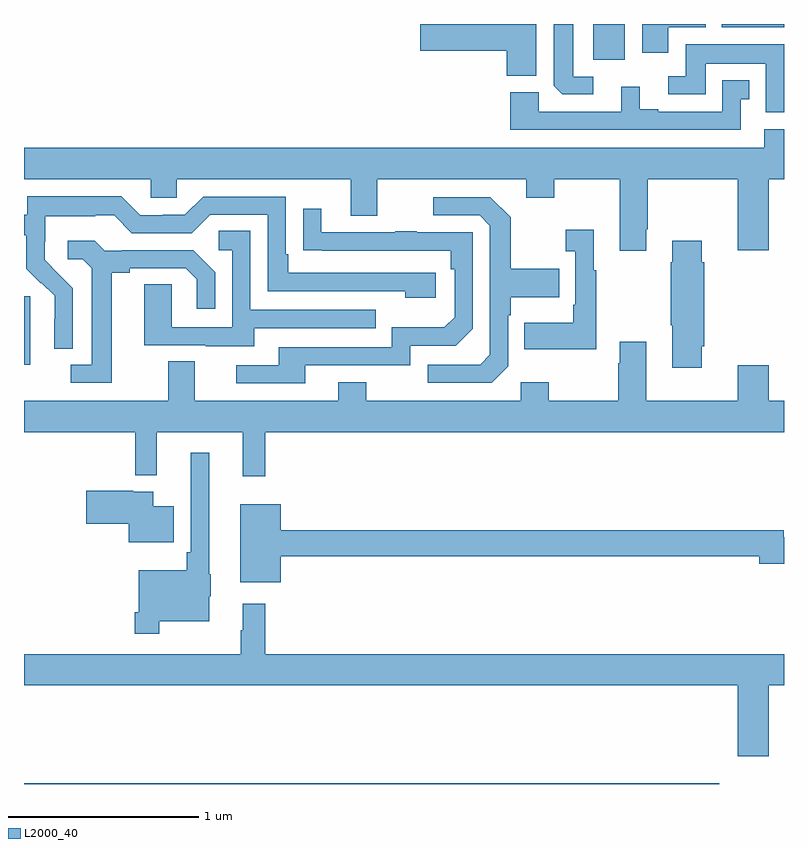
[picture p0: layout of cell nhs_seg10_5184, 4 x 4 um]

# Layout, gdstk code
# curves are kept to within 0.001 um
import gdstk
lib = gdstk.Library(unit=1e-6, precision=1e-09)
def R(c, l, rs):  # rectangles x0, y0, x1, y1
    for r in rs: c.add(gdstk.rectangle(r[:2], r[2:], *l))
def P(c, l, *ps):  # polygons
    for p in ps: c.add(gdstk.Polygon(p, *l))
L2000_40 = (2000, 40)

nhs_seg10_5184 = lib.new_cell('nhs_seg10_5184')
R(nhs_seg10_5184, L2000_40, [(413,1262.5,416.66,1262.504), (413,1264.706,413.032,1265.067), (415.997,1266.312,416.161,1266.5), (416.672,1266.482,417,1266.5)])
P(nhs_seg10_5184, L2000_40, [(416.392,1266.482),(416.587,1266.482),(416.587,1266.5),(416.255,1266.5),(416.255,1266.348),(416.392,1266.348)],
  [(415.996,1266.222),(415.891,1266.222),(415.891,1266.5),(415.787,1266.5),(415.787,1266.286),(415.788,1266.286),(415.788,1266.175),(415.834,1266.129),(415.996,1266.129)],
  [(415.696,1266.5),(415.086,1266.5),(415.086,1266.359),(415.541,1266.359),(415.541,1266.227),(415.696,1266.227)],
  [(417,1266.394),(416.483,1266.394),(416.483,1266.225),(416.391,1266.225),(416.391,1266.129),(416.587,1266.129),(416.587,1266.29),(416.903,1266.29),(416.903,1266.035),(417,1266.035)],
  [(416.772,1266.105),(416.818,1266.105),(416.818,1266.205),(416.676,1266.205),(416.676,1266.039),(416.338,1266.039),(416.338,1266.052),(416.242,1266.052),(416.242,1266.169),(416.144,1266.169),(416.144,1266.039),(415.71,1266.039),(415.71,1266.142),(415.559,1266.142),(415.559,1265.943),(416.772,1265.943)],
  [(413,1265.684),(413.667,1265.684),(413.667,1265.586),(413.805,1265.586),(413.805,1265.684),(414.719,1265.684),(414.719,1265.49),(414.859,1265.49),(414.859,1265.684),(415.643,1265.684),(415.643,1265.585),(415.791,1265.585),(415.791,1265.684),(416.135,1265.684),(416.135,1265.307),(416.275,1265.307),(416.275,1265.419),(416.283,1265.419),(416.283,1265.684),(416.756,1265.684),(416.756,1265.31),(416.92,1265.31),(416.92,1265.684),(417,1265.684),(417,1265.947),(416.897,1265.947),(416.897,1265.848),(413,1265.848)],
  [(413.256,1265.11),(413.11,1265.258),(413.11,1265.355),(413.112,1265.355),(413.112,1265.489),(413.375,1265.489),(413.375,1265.493),(413.475,1265.493),(413.568,1265.4),(413.883,1265.4),(413.979,1265.496),(414.282,1265.496),(414.282,1265.094),(415.007,1265.094),(415.007,1265.06),(415.168,1265.06),(415.168,1265.19),(414.391,1265.19),(414.391,1265.287),(414.378,1265.287),(414.378,1265.592),(413.943,1265.592),(413.847,1265.496),(413.729,1265.496),(413.729,1265.493),(413.613,1265.493),(413.513,1265.593),(413.016,1265.593),(413.016,1265.496),(413,1265.496),(413,1265.388),(413.011,1265.388),(413.011,1265.213),(413.088,1265.136),(413.091,1265.139),(413.162,1265.069),(413.162,1264.946),(413.16,1264.946),(413.16,1264.792),(413.256,1264.792)],
  [(415.548,1264.698),(415.548,1264.967),(415.561,1264.967),(415.561,1265.063),(415.817,1265.063),(415.817,1265.211),(415.561,1265.211),(415.561,1265.483),(415.455,1265.589),(415.155,1265.589),(415.155,1265.493),(415.398,1265.493),(415.452,1265.439),(415.452,1264.758),(415.401,1264.707),(415.125,1264.707),(415.125,1264.611),(415.461,1264.611)],
  [(414.481,1264.704),(415.032,1264.704),(415.032,1264.806),(415.272,1264.806),(415.362,1264.896),(415.362,1265.403),(415.067,1265.403),(415.067,1265.408),(414.955,1265.408),(414.955,1265.403),(414.565,1265.403),(414.565,1265.527),(414.469,1265.527),(414.469,1265.308),(415.246,1265.307),(415.246,1265.21),(415.266,1265.21),(415.266,1264.956),(415.213,1264.903),(414.936,1264.903),(414.936,1264.8),(414.341,1264.8),(414.341,1264.704),(414.117,1264.704),(414.117,1264.608),(414.481,1264.608)],
  [(416.011,1265.203),(415.999,1265.203),(415.999,1265.416),(415.851,1265.416),(415.851,1265.303),(415.902,1265.303),(415.902,1265.023),(415.89,1265.023),(415.89,1264.927),(415.633,1264.927),(415.633,1264.787),(416.011,1264.787)],
  [(414.211,1264.899),(414.851,1264.899),(414.851,1264.995),(414.192,1264.995),(414.192,1265.411),(414.024,1265.411),(414.024,1265.31),(414.096,1265.31),(414.096,1264.905),(413.778,1264.905),(413.778,1265.129),(413.633,1265.129),(413.633,1264.809),(413.957,1264.809),(413.957,1264.805),(414.211,1264.805)],
  [(416.566,1264.804),(416.579,1264.804),(416.579,1265.246),(416.566,1265.246),(416.566,1265.359),(416.411,1265.359),(416.411,1265.246),(416.404,1265.246),(416.404,1264.915),(416.411,1264.915),(416.411,1264.692),(416.566,1264.692)],
  [(413.461,1265.192),(413.557,1265.192),(413.557,1265.214),(413.852,1265.214),(413.909,1265.157),(413.909,1265.001),(414.006,1265.001),(414.006,1265.194),(413.89,1265.31),(413.518,1265.31),(413.518,1265.307),(413.424,1265.307),(413.372,1265.359),(413.229,1265.359),(413.229,1265.262),(413.31,1265.262),(413.357,1265.215),(413.357,1264.707),(413.247,1264.707),(413.247,1264.611),(413.461,1264.611)],
  [(414.269,1264.352),(417,1264.352),(417,1264.516),(416.92,1264.516),(416.92,1264.705),(416.756,1264.705),(416.756,1264.516),(416.275,1264.516),(416.275,1264.828),(416.135,1264.828),(416.135,1264.715),(416.128,1264.715),(416.128,1264.516),(415.761,1264.516),(415.761,1264.615),(415.614,1264.615),(415.614,1264.516),(414.801,1264.516),(414.801,1264.615),(414.653,1264.615),(414.653,1264.516),(413.899,1264.516),(413.899,1264.724),(413.759,1264.724),(413.759,1264.516),(413,1264.516),(413,1264.352),(413.586,1264.352),(413.586,1264.124),(413.699,1264.124),(413.699,1264.352),(414.152,1264.352),(414.152,1264.119),(414.269,1264.119)],
  [(413.713,1263.356),(413.974,1263.356),(413.974,1263.489),(413.983,1263.489),(413.983,1263.603),(413.974,1263.603),(413.974,1264.243),(413.877,1264.243),(413.877,1263.721),(413.857,1263.721),(413.857,1263.625),(413.604,1263.625),(413.604,1263.403),(413.584,1263.403),(413.584,1263.291),(413.713,1263.291)],
  [(413.788,1263.961),(413.68,1263.961),(413.68,1264.039),(413.576,1264.039),(413.576,1264.044),(413.328,1264.044),(413.328,1263.869),(413.552,1263.869),(413.552,1263.773),(413.788,1263.773)],
  [(414.352,1263.7),(416.87,1263.7),(416.87,1263.658),(417,1263.658),(417,1263.8),(416.998,1263.8),(416.998,1263.836),(414.352,1263.836),(414.352,1263.973),(414.137,1263.973),(414.137,1263.563),(414.352,1263.563)],
  [(416.92,1263.02),(417,1263.02),(417,1263.184),(414.269,1263.184),(414.269,1263.448),(414.152,1263.448),(414.152,1263.308),(414.141,1263.308),(414.141,1263.184),(413,1263.184),(413,1263.02),(416.756,1263.02),(416.756,1262.646),(416.92,1262.646)])

lib.write_gds('nhs_seg10_5184.gds')
